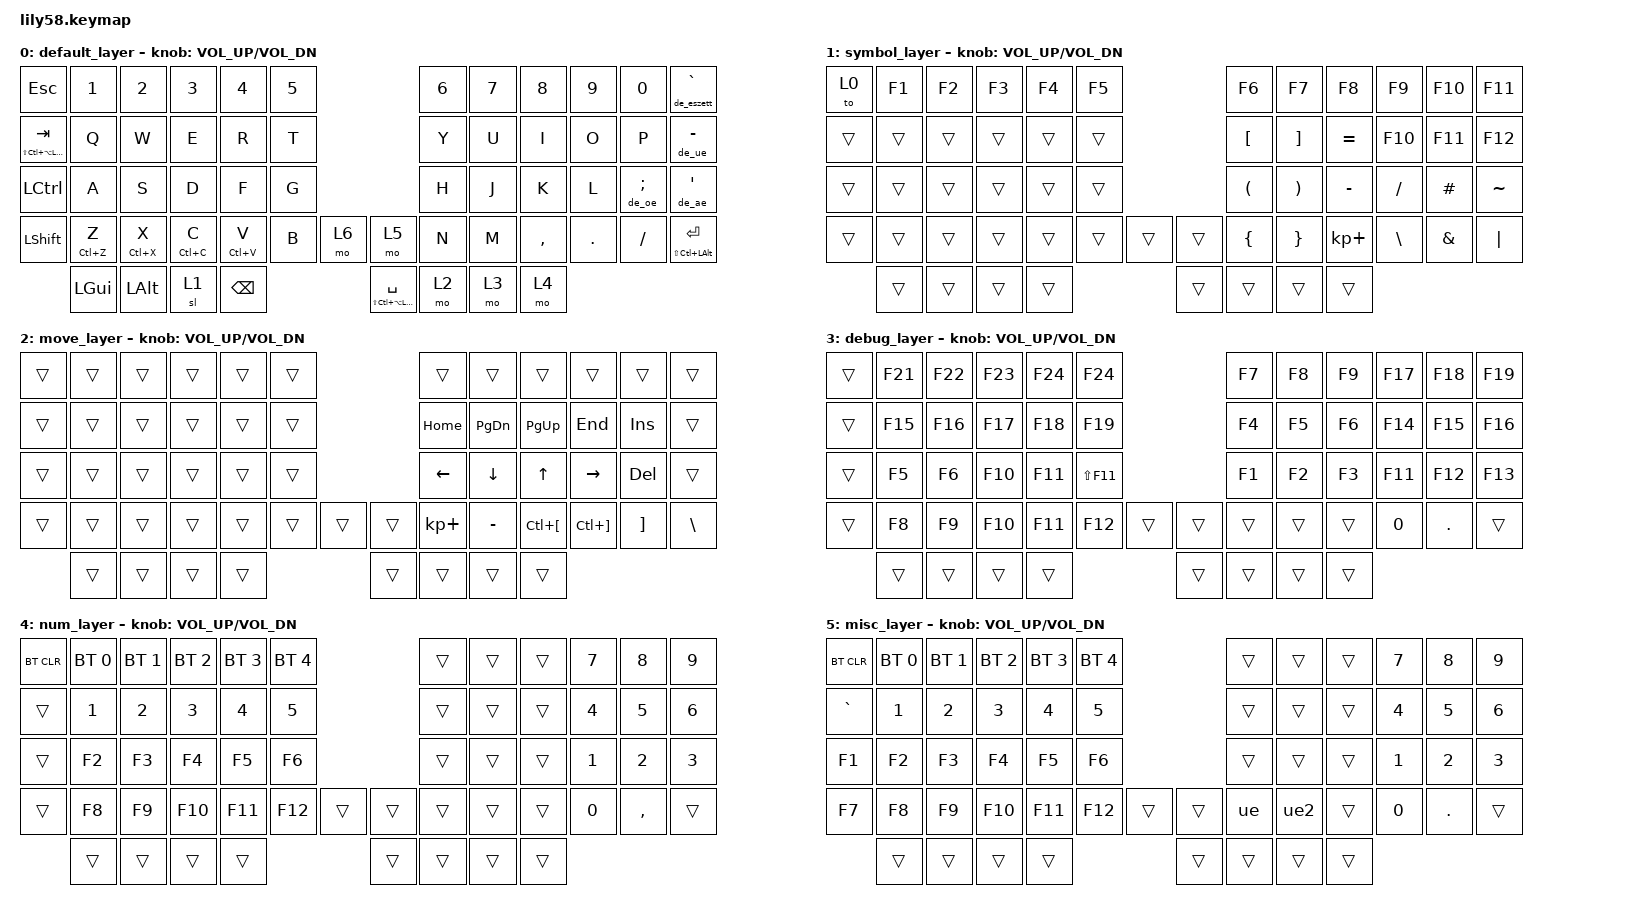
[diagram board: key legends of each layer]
/*
 * Copyright (c) 2020 The ZMK Contributors
 *
 * SPDX-License-Identifier: MIT
 */


#define HOST_OS 2
#include <behaviors.dtsi>
#include <dt-bindings/zmk/keys.h>
#include <dt-bindings/zmk/bt.h>
#include <dt-bindings/zmk/ext_power.h>
#include "../helper.h"
#include <dt-bindings/zmk/bt.h>
#include "../international_chars/german.dtsi"
#define HYP LS(LC(LA(LGUI)))
#define MEH LS(LC(LALT))
#define HYPER(key) LS(LC(LA(LG(key))))

// Friendlier volume definitions, tap volume down, hold mute
#define VOLUME_DOWN K_MUTE C_VOLUME_DOWN
#define VOLUME_UP C_VOLUME_UP
#define TAPPING_TERM 400
#define COMBO_TIMEOUT 40

&kscan0 {
    debounce-press-ms = <10>;
    debounce-release-ms = <10>;
};

&mt {
    tapping-term-ms = <TAPPING_TERM>;
    flavor = "tap-preferred";
};
/ {
      behaviors {
                dae: dae-tap-macro {
                        compatible = "zmk,behavior-hold-tap";
                        label = "dae-TAP-MACRO";
                        #binding-cells = <2>;
                        tapping-term-ms = <210>;
                        quick-tap-ms = <0>;
                        flavor = "tap-preferred";
                        bindings =  <&de_ae>,<&kp>;
                };
                doe: doe-tap-macro {
                        compatible = "zmk,behavior-hold-tap";
                        label = "doe-TAP-MACRO";
                        #binding-cells = <2>;
                        tapping-term-ms = <210>;
                        quick-tap-ms = <0>;
                        flavor = "tap-preferred";
                        bindings =  <&de_oe>,<&kp>;
                };
                due: due-tap-macro {
                        compatible = "zmk,behavior-hold-tap";
                        label = "due-TAP-MACRO";
                        #binding-cells = <2>;
                        tapping-term-ms = <210>;
                        quick-tap-ms = <0>;
                        flavor = "tap-preferred";
                        bindings =  <&de_ue>,<&kp>;
                };
                dsz: dsz-tap-macro {
                        compatible = "zmk,behavior-hold-tap";
                        label = "dsz-TAP-MACRO";
                        #binding-cells = <2>;
                        tapping-term-ms = <210>;
                        quick-tap-ms = <0>;
                        flavor = "tap-preferred";
                        bindings =  <&de_eszett>,<&kp>;
                };};
};
/ {
	keymap {
		compatible = "zmk,keymap";

		default_layer {
// ------------------------------------------------------------------------------------------------------------
// |  ESC  |  1  |  2  |  3   |  4   |  5   |                   |  6   |  7    |  8    |  9   |   0   |   `   |
// |  TAB  |  Q  |  W  |  E   |  R   |  T   |                   |  Y   |  U    |  I    |  O   |   P   |   -   |
// |  CTRL |  A  |  S  |  D   |  F   |  G   |                   |  H   |  J    |  K    |  L   |   ;   |   '   |
// | SHIFT |  Z  |  X  |  C   |  V   |  B   |   "["  |  |  "]"  |  N   |  M    |  ,    |  .   |   /   | SHIFT |
//                     | ALT  | GUI  | LOWER|  SPACE |  | ENTER | RAISE| BSPC  | GUI   |
			bindings = <
&kp ESC       &kp N1       &kp N2       &kp N3      &kp N4      &kp N5                  &kp N6 &kp N7   &kp N8    &kp N9  &kp N0   &dsz 0 GRAVE
&mt HYP TAB   &kp Q        &kp W        &kp E       &kp R       &kp T                   &kp Y  &kp U    &kp I     &kp O   &kp P    &due 0 MINUS 
&kp LCTRL     &kp A        &kp S        &kp D       &kp F       &kp G                   &kp H  &kp J    &kp K     &kp L   &doe 0 SEMI  &dae 0 SQT 
&kp LSHFT     &mt LC(Z) Z  &mt LC(X) X  &mt LC(C) C &mt LC(V) V &kp B  &mo 6   &mo 5 &kp N  &kp M    &kp COMMA &kp DOT &kp FSLH &mt MEH RET
                           &kp LGUI &kp LALT &sl 1  &kp BSPC                      &mt HYP SPACE  &mo 2  &mo 3 &mo 4
			>;

			sensor-bindings = <&inc_dec_kp C_VOL_UP C_VOL_DN>;
		};

		symbol_layer {
// ------------------------------------------------------------------------------------------------------------
// | BTCLR | BT1 | BT2 |  BT3 |  BT4 |  BT5 |                   |      |       |       |      |       |       |
// |  F1   |  F2 |  F3 |  F4  |  F5  |  F6  |                   |  F7  |  F8   |  F9   |  F10 |  F11  |  F12  |
// |   `   |  !  |  @  |  #   |  $   |  %   |                   |  ^   |  &    |  *    |  (   |   )   |   ~   |
// |       |     |     |      |      |      |        |  |       |      |  _    |  +    |  {   |   }   |  "|"  |
//                     |      |      |      |        |  |       |      |       |       |
			bindings = <
/* &bt BT_CLR &bt BT_SEL 0     &bt BT_SEL 1      &bt BT_SEL 2      &bt BT_SEL 3 &bt BT_SEL 4                 &trans    &trans    &trans          &trans    &trans    &trans */
/* &kp F1     &kp F2           &kp F3            &kp F4            &kp F5       &kp F6                       &kp F7    &kp F8    &kp F9          &kp F10   &kp F11   &kp F12 */
/* &kp GRAVE  &kp EXCL         &kp AT            &kp HASH          &kp DOLLAR   &kp PRCNT                    &kp CARET &kp AMPS  &kp KP_MULTIPLY &kp LPAR  &kp RPAR  &kp TILDE */
/* &trans     &ext_power EP_ON &ext_power EP_OFF &ext_power EP_TOG &trans       &trans    &trans   &trans    &trans    &kp MINUS &kp KP_PLUS     &kp LBRC  &kp RBRC  &kp PIPE */
/*                                               &rgb_ug RGB_TOG            &trans       &trans    &trans   &trans    &trans    &trans    &trans */
&to 0 &kp F1 &kp F2 &kp F3 &kp F4 &kp F5                  &kp F6   &kp F7   &kp F8      &kp F9    &kp F10  &kp F11
&trans &trans &trans &trans &trans &trans                 &kp LBKT &kp RBKT &kp EQUAL   &kp F10   &kp F11  &kp F12
&trans &trans &trans &trans &trans &trans                 &kp LPAR &kp RPAR &kp MINUS   &kp SLASH &kp HASH &kp TILDE
&trans &trans &trans &trans &trans &trans &trans   &trans &kp LBRC &kp RBRC &kp KP_PLUS &kp BSLH  &kp AMPS  &kp PIPE 
      &trans       &trans       &trans    &trans   &trans    &trans    &trans    &trans
			>;

			sensor-bindings = <&inc_dec_kp C_VOL_UP C_VOL_DN>;
		};

		move_layer {
// ------------------------------------------------------------------------------------------------------------
// |       |     |     |      |      |      |                   |      |       |       |      |       |       |
// |   `   |  1  |  2  |  3   |  4   |  5   |                   |  6   |   7   |   8   |  9   |   0   |       |
// |   F1  |  F2 |  F3 |  F4  |  F5  |  F6  |                   |      |   <-  |   v   |  ^   |  ->   |       |
// |   F7  |  F8 |  F9 |  F10 |  F11 |  F12 |        |  |       |  +   |   -   |   =   |  [   |   ]   |   \   |
//                     |      |      |      |        |  |       |      |       |       |
			bindings = <
&trans  &trans  &trans  &trans  &trans  &trans                       &trans      &trans       &trans    &trans    &trans    &trans
&trans  &trans  &trans  &trans  &trans  &trans                        &kp HOME    &kp PG_DN  &kp PG_UP &kp END   &kp INS    &trans
&trans  &trans  &trans  &trans  &trans  &trans                       &kp LEFT    &kp DOWN     &kp UP    &kp RIGHT &kp DEL    &trans
&trans  &trans  &trans  &trans  &trans  &trans    &trans   &trans    &kp KP_PLUS &kp MINUS    &kp LC(LBKT) &kp LC(RBKT)  &kp RBKT  &kp BSLH
                        &trans  &trans  &trans    &trans   &trans    &trans      &trans       &trans
			>;

			sensor-bindings = <&inc_dec_kp C_VOL_UP C_VOL_DN>;
		};
		debug_layer {
// ------------------------------------------------------------------------------------------------------------
// |       |     |     |      |      |      |                   |      |       |       |      |       |       |
// |   `   |  1  |  2  |  3   |  4   |  5   |                   |  6   |   7   |   8   |  9   |   0   |       |
// |   F1  |  F2 |  F3 |  F4  |  F5  |  F6  |                   |      |   <-  |   v   |  ^   |  ->   |       |
// |   F7  |  F8 |  F9 |  F10 |  F11 |  F12 |        |  |       |  +   |   -   |   =   |  [   |   ]   |   \   |
//                     |      |      |      |        |  |       |      |       |       |
			bindings = <
&trans    &kp F21 &kp F22 &kp F23  &kp F24  &kp F24                      &kp F7 &kp F8 &kp F9    &kp F17 &kp F18 &kp F19
&trans    &kp F15 &kp F16 &kp F17  &kp F18  &kp F19                      &kp F4 &kp F5 &kp F6    &kp F14 &kp F15 &kp F16
&trans    &kp F5  &kp F6  &kp F10   &kp F11   &kp LS(F11)                &kp F1 &kp F2 &kp F3    &kp F11 &kp F12 &kp F13
&trans    &kp F8  &kp F9  &kp F10  &kp F11  &kp F12   &trans   &trans    &trans &trans &trans    &kp N0  &kp DOT  &trans
                        &trans  &trans  &trans    &trans   &trans    &trans    &trans       &trans
			>;

			sensor-bindings = <&inc_dec_kp C_VOL_UP C_VOL_DN>;
		};
		num_layer {
// ------------------------------------------------------------------------------------------------------------
// |       |     |     |      |      |      |                   |      |       |       |      |       |       |
// |   `   |  1  |  2  |  3   |  4   |  5   |                   |  6   |   7   |   8   |  9   |   0   |       |
// |   F1  |  F2 |  F3 |  F4  |  F5  |  F6  |                   |      |   <-  |   v   |  ^   |  ->   |       |
// |   F7  |  F8 |  F9 |  F10 |  F11 |  F12 |        |  |       |  +   |   -   |   =   |  [   |   ]   |   \   |
//                     |      |      |      |        |  |       |      |       |       |
			bindings = <
&bt BT_CLR    &bt BT_SEL 0 &bt BT_SEL 1 &bt BT_SEL 2  &bt BT_SEL 3  &bt BT_SEL 4                       &trans    &trans       &trans    &kp N7 &kp N8 &kp N9
&trans &kp N1 &kp N2 &kp N3  &kp N4  &kp N5                       &trans    &trans  &trans &kp N4 &kp N5 &kp N6
&trans    &kp F2 &kp F3 &kp F4  &kp F5  &kp F6                       &trans    &trans     &trans    &kp N1 &kp N2 &kp N3
&trans    &kp F8 &kp F9 &kp F10 &kp F11 &kp F12   &trans   &trans    &trans       &trans    &trans &kp N0  &kp COMMA  &trans
                        &trans  &trans  &trans    &trans   &trans    &trans    &trans       &trans
			>;

			sensor-bindings = <&inc_dec_kp C_VOL_UP C_VOL_DN>;
		};
		/* rgb_layer { */
/* // ------------------------------------------------------------------------------------------------------------ */
/* // |       |     |     |      |      |      |                   |      |       |       |      |       |       | */
/* // |   `   |  1  |  2  |  3   |  4   |  5   |                   |  6   |   7   |   8   |  9   |   0   |       | */
/* // |   F1  |  F2 |  F3 |  F4  |  F5  |  F6  |                   |      |   <-  |   v   |  ^   |  ->   |       | */
/* // |   F7  |  F8 |  F9 |  F10 |  F11 |  F12 |        |  |       |  +   |   -   |   =   |  [   |   ]   |   \   | */
/* //                     |      |      |      |        |  |       |      |       |       | */
		/* 	bindings = < */
/* &bt BT_CLR      &bt BT_SEL 0 &bt BT_SEL 1 &bt BT_SEL 2  &bt BT_SEL 3  &bt BT_SEL 4                       &trans    &trans       &trans    &kp N7 &kp N8 &kp N9 */
/* &rgb_ug RGB_TOG &rgb_ug RGB_HUD  &rgb_ug RGB_BRI  &rgb_ug RGB_HUI &rgb_ug RGB_TOG  &rgb_ug RGB_TOG                      &trans    &trans  &trans &kp N4 &kp N5 &kp N6 */
/* &trans          &rgb_ug RGB_SAD &rgb_ug RGB_BRD &rgb_ug RGB_SAI  &rgb_ug RGB_TOG  &rgb_ug RGB_TOG                       &trans    &trans     &trans    &kp N1 &kp N2 &kp N3 */
/* &trans          &rgb_ug RGB_SPD &rgb_ug RGB_SPI &rgb_ug RGB_EFF &rgb_ug RGB_EFR &rgb_ug RGB_TOG   &trans   &trans    &ue       &ue2    &trans &kp N0  &kp DOT  &trans */
                        /* &trans  &trans  &trans    &trans   &trans    &trans    &trans       &trans */
		/* 	>; */

		/* 	sensor-bindings = <&inc_dec_kp C_VOL_UP C_VOL_DN>; */
		/* }; */
		misc_layer {
// ------------------------------------------------------------------------------------------------------------
// |       |     |     |      |      |      |                   |      |       |       |      |       |       |
// |   `   |  1  |  2  |  3   |  4   |  5   |                   |  6   |   7   |   8   |  9   |   0   |       |
// |   F1  |  F2 |  F3 |  F4  |  F5  |  F6  |                   |      |   <-  |   v   |  ^   |  ->   |       |
// |   F7  |  F8 |  F9 |  F10 |  F11 |  F12 |        |  |       |  +   |   -   |   =   |  [   |   ]   |   \   |
//                     |      |      |      |        |  |       |      |       |       |
			bindings = <
&bt BT_CLR    &bt BT_SEL 0 &bt BT_SEL 1 &bt BT_SEL 2  &bt BT_SEL 3  &bt BT_SEL 4                       &trans    &trans       &trans    &kp N7 &kp N8 &kp N9
&kp GRAVE &kp N1 &kp N2 &kp N3  &kp N4  &kp N5                       &trans    &trans  &trans &kp N4 &kp N5 &kp N6
&kp F1    &kp F2 &kp F3 &kp F4  &kp F5  &kp F6                       &trans    &trans     &trans    &kp N1 &kp N2 &kp N3
&kp F7    &kp F8 &kp F9 &kp F10 &kp F11 &kp F12   &trans   &trans    &ue       &ue2    &trans &kp N0  &kp DOT  &trans
                        &trans  &trans  &trans    &trans   &trans    &trans    &trans       &trans
			>;

			sensor-bindings = <&inc_dec_kp C_VOL_UP C_VOL_DN>;
		};
	};
};
